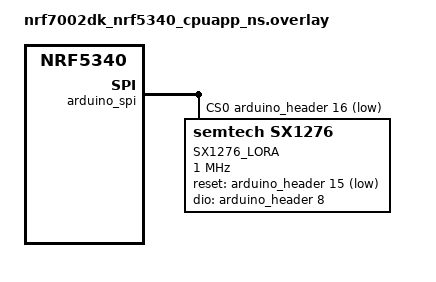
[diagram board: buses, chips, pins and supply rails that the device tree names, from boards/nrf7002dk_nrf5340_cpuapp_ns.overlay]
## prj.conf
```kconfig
CONFIG_LOG=y
CONFIG_LORA=y
CONFIG_PRINTK=y
```

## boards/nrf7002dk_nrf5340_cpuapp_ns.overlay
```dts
&arduino_spi {
	status = "okay";
	cs-gpios = <&arduino_header 16 GPIO_ACTIVE_LOW>; 

	lora0: sx1276@0 {
		compatible = "semtech,sx1276";
		reg = <0>;
		spi-max-frequency = <1000000>;
		label = "SX1276_LORA";
		
		reset-gpios = <&arduino_header 15 GPIO_ACTIVE_LOW>;
		dio-gpios = <&arduino_header 8 (GPIO_ACTIVE_HIGH | GPIO_PULL_DOWN)>;
		
		power-amplifier-output = "pa-boost";
	};
};

/ {
	aliases {
		lora0 = &lora0;
	};
};
```

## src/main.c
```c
/*
 * Copyright (c) 2019 Manivannan Sadhasivam
 *
 * SPDX-License-Identifier: Apache-2.0
 */

#include <zephyr/device.h>
#include <zephyr/drivers/lora.h>
#include <errno.h>
#include <zephyr/sys/util.h>
#include <zephyr/kernel.h>

#define DEFAULT_RADIO_NODE DT_ALIAS(lora0)
BUILD_ASSERT(DT_NODE_HAS_STATUS_OKAY(DEFAULT_RADIO_NODE),
	     "No default LoRa radio specified in DT");

#define MAX_DATA_LEN 10

#define LOG_LEVEL CONFIG_LOG_DEFAULT_LEVEL
#include <zephyr/logging/log.h>
LOG_MODULE_REGISTER(lora_send);

char data[MAX_DATA_LEN] = {'h', 'e', 'l', 'l', 'o', 'w', 'o', 'r', 'l', 'd'};

int main(void)
{
	const struct device *const lora_dev = DEVICE_DT_GET(DEFAULT_RADIO_NODE);
	struct lora_modem_config config;
	int ret;

	if (!device_is_ready(lora_dev)) {
		LOG_ERR("%s Device not ready", lora_dev->name);
		return 0;
	}

	config.frequency = 915000000;
	config.bandwidth = BW_125_KHZ;
	config.datarate = SF_10;
	config.preamble_len = 8;
	config.coding_rate = CR_4_5;
	config.iq_inverted = false;
	config.public_network = false;
	config.tx_power = 4;
	config.tx = true;

	ret = lora_config(lora_dev, &config);
	if (ret < 0) {
		LOG_ERR("LoRa config failed");
		return 0;
	}

	while (1) {
		ret = lora_send(lora_dev, data, MAX_DATA_LEN);
		if (ret < 0) {
			LOG_ERR("LoRa send failed");
			return 0;
		}

		LOG_INF("Data sent!");

		/* Send data at 1s interval */
		k_sleep(K_MSEC(1000));
	}
	return 0;
}
```
